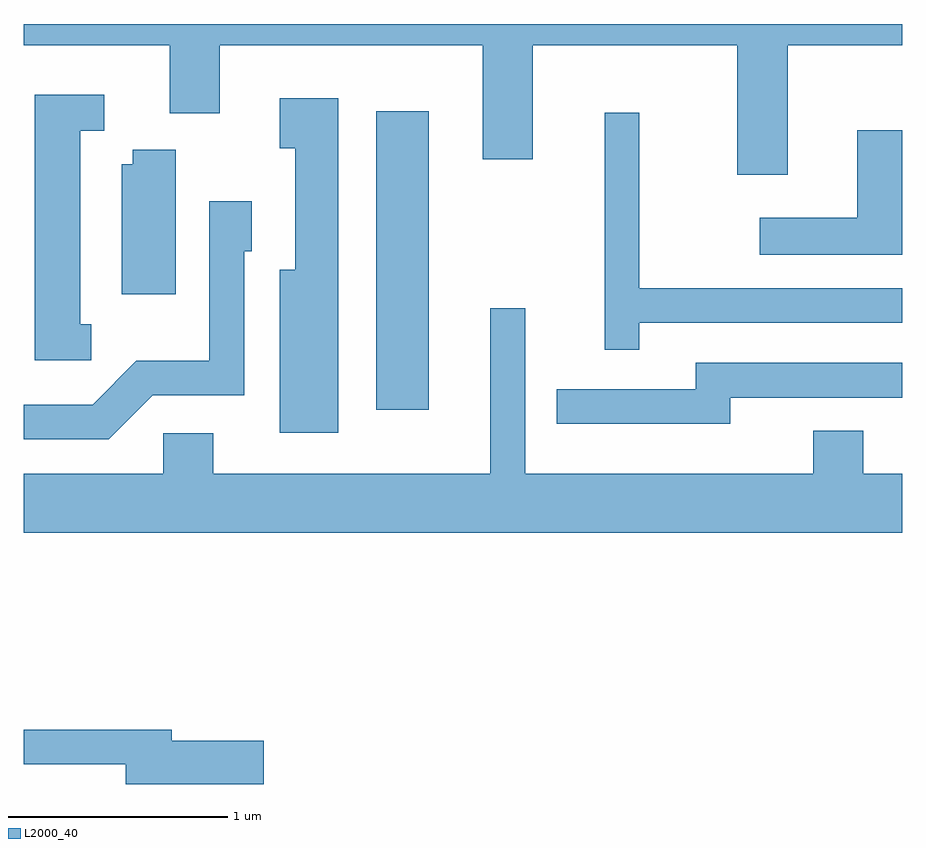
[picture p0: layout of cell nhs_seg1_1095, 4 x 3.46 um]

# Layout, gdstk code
import gdstk
lib = gdstk.Library(unit=1e-6, precision=1e-09)
def R(c, l, rs):  # rectangles x0, y0, x1, y1
    for r in rs: c.add(gdstk.rectangle(r[:2], r[2:], *l))
def P(c, l, *ps):  # polygons
    for p in ps: c.add(gdstk.Polygon(p, *l))
L2000_40 = (2000, 40)

nhs_seg1_1095 = lib.new_cell('nhs_seg1_1095')
R(nhs_seg1_1095, L2000_40, [(221.216,857.956,221.454,859.314)])
P(nhs_seg1_1095, L2000_40, [(223.089,859.616),(223.611,859.616),(223.611,859.712),(219.611,859.712),(219.611,859.616),(220.276,859.616),(220.276,859.306),(220.504,859.306),(220.504,859.616),(221.701,859.616),(221.701,859.096),(221.929,859.096),(221.929,859.616),(222.861,859.616),(222.861,859.026),(223.089,859.026)],
  [(219.918,858.344),(219.869,858.344),(219.869,859.226),(219.978,859.226),(219.978,859.389),(219.661,859.389),(219.661,858.181),(219.918,858.181)],
  [(221.044,859.374),(220.776,859.374),(220.776,859.146),(220.846,859.146),(220.846,858.594),(220.776,858.594),(220.776,857.851),(221.044,857.851)],
  [(222.414,858.351),(223.611,858.351),(223.611,858.509),(222.414,858.509),(222.414,859.308),(222.256,859.308),(222.256,858.228),(222.414,858.228)],
  [(223.611,859.229),(223.406,859.229),(223.406,858.829),(222.963,858.829),(222.963,858.661),(223.611,858.661)],
  [(220.304,859.139),(220.106,859.139),(220.106,859.074),(220.056,859.074),(220.056,858.481),(220.304,858.481)],
  [(220.197,858.021),(220.614,858.021),(220.614,858.676),(220.649,858.676),(220.649,858.904),(220.456,858.904),(220.456,858.179),(220.124,858.179),(219.924,857.979),(219.611,857.979),(219.611,857.821),(219.997,857.821)],
  [(223.611,857.664),(223.434,857.664),(223.434,857.859),(223.206,857.859),(223.206,857.664),(221.894,857.664),(221.894,858.418),(221.736,858.418),(221.736,857.664),(220.474,857.664),(220.474,857.849),(220.246,857.849),(220.246,857.664),(219.611,857.664),(219.611,857.396),(223.611,857.396)],
  [(222.829,858.011),(223.611,858.011),(223.611,858.169),(222.671,858.169),(222.671,858.049),(222.038,858.049),(222.038,857.891),(222.829,857.891)],
  [(220.704,856.449),(220.284,856.449),(220.284,856.499),(219.611,856.499),(219.611,856.341),(220.076,856.341),(220.076,856.251),(220.704,856.251)])

lib.write_gds('nhs_seg1_1095.gds')
